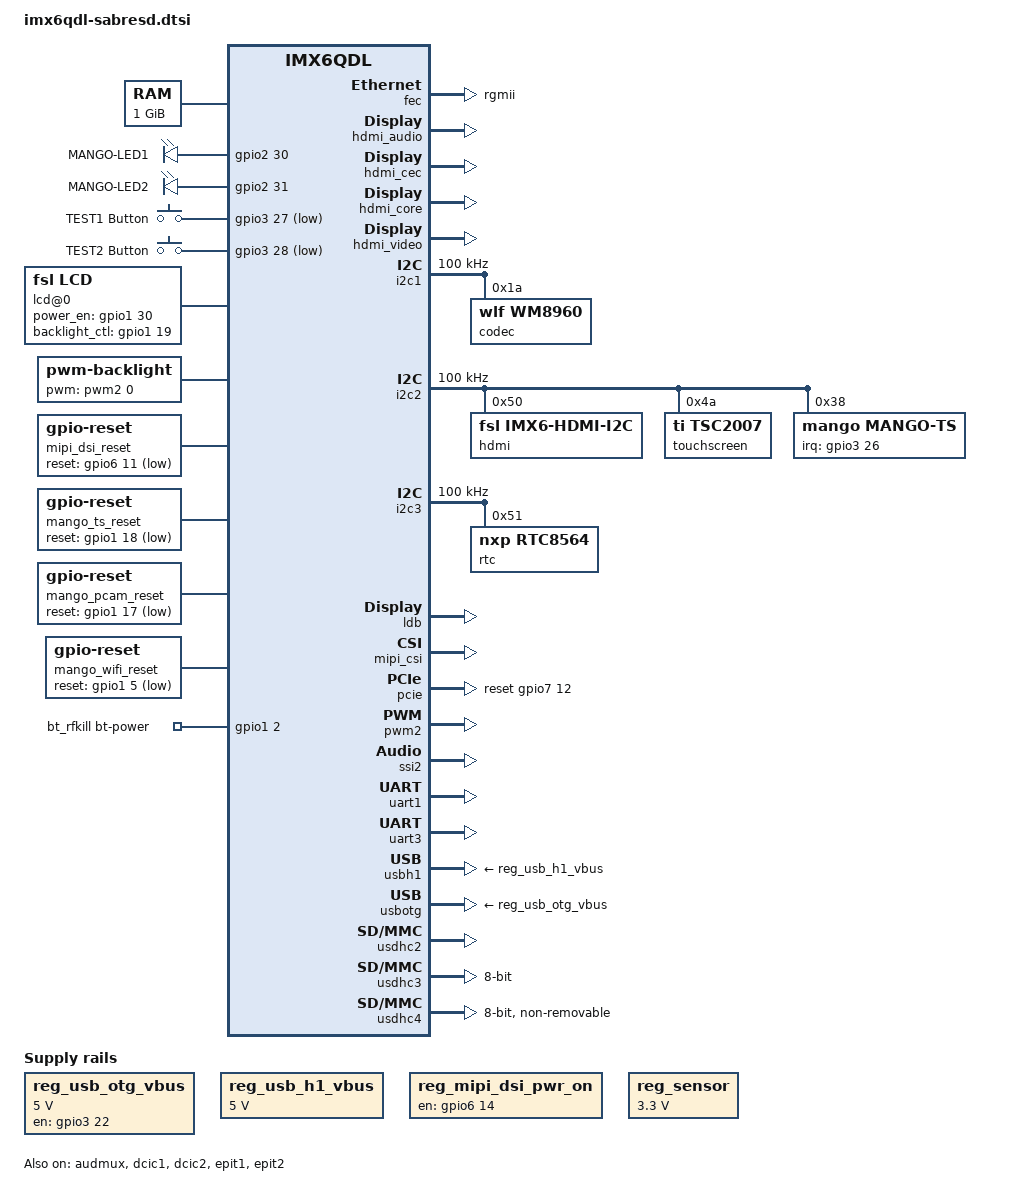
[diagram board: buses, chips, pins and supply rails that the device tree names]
/*
 * Copyright 2012 Freescale Semiconductor, Inc.
 * Copyright 2011 Linaro Ltd.
 *
 * The code contained herein is licensed under the GNU General Public
 * License. You may obtain a copy of the GNU General Public License
 * Version 2 or later at the following locations:
 *
 * http://www.opensource.org/licenses/gpl-license.html
 * http://www.gnu.org/copyleft/gpl.html
 */

/ {
	aliases {
		mxcfb0 = &mxcfb1;
		mxcfb1 = &mxcfb2;
		mxcfb2 = &mxcfb3;
		mxcfb3 = &mxcfb4;
	};

	memory {
		reg = <0x10000000 0x40000000>;
	};

	battery: max8903@0 {
		compatible = "fsl,max8903-charger";
		pinctrl-names = "default";
		dok_input = <&gpio2 24 1>;
		uok_input = <&gpio1 27 1>;
		chg_input = <&gpio3 23 1>;
		flt_input = <&gpio5 2 1>;
		fsl,dcm_always_high;
		fsl,dc_valid;
		fsl,usb_valid;
		status = "disabled";
	};

	hannstar_cabc {
		compatible = "hannstar,cabc";

		lvds0 {
			gpios = <&gpio6 15 GPIO_ACTIVE_HIGH>;
		};

		lvds1 {
			gpios = <&gpio6 16 GPIO_ACTIVE_HIGH>;
		};
	};

	leds {
		compatible = "gpio-leds";
		pinctrl-names = "default";
		pinctrl-0 = <&pinctrl_gpio_leds>;
		
		mango-led1 {
		    label = "MANGO-LED1";
		    gpios = <&gpio2 30 0>;
		    linux,default-trigger = "timer";
		    status = "okay";
		};
		mango-led2 {
		    label = "MANGO-LED2";
		    gpios =  <&gpio2 31 0>;
		    linux,default-trigger = "timer";
		    status = "okay";
		};
	};

	regulators {
		compatible = "simple-bus";

		reg_usb_otg_vbus: usb_otg_vbus {
			compatible = "regulator-fixed";
			regulator-name = "usb_otg_vbus";
			regulator-min-microvolt = <5000000>;
			regulator-max-microvolt = <5000000>;
			gpio = <&gpio3 22 0>;
			enable-active-high;
		};

		reg_usb_h1_vbus: usb_h1_vbus {
			compatible = "regulator-fixed";
			regulator-name = "usb_h1_vbus";
			regulator-min-microvolt = <5000000>;
			regulator-max-microvolt = <5000000>;
			/*gpio = <&gpio1 29 0>;*/
			enable-active-high;
		};


		reg_mipi_dsi_pwr_on: mipi_dsi_pwr_on {
			compatible = "regulator-fixed";
			regulator-name = "mipi_dsi_pwr_on";
			gpio = <&gpio6 14 0>;
			enable-active-high;
		};

		reg_sensor: sensor_supply {
			compatible = "regulator-fixed";
			regulator-name = "sensor-supply";
			regulator-min-microvolt = <3300000>;
			regulator-max-microvolt = <3300000>;
			startup-delay-us = <500>;
			enable-active-high;
		};
	};

	gpio-keys {
		compatible = "gpio-keys";
		pinctrl-names = "default";
		pinctrl-0 = <&pinctrl_gpio_keys>;

		test1 {
		    label = "TEST1 Button";
		    gpios = <&gpio3 27 1>;
		    gpio-key,wakeup;
		    linux,code = <116>;
		};
		
		test2 {
		    label = "TEST2 Button";
		    gpios = <&gpio3 28 1>;
		    gpio-key,wakeup;
		    linux,code = <116>;
		};
	
	};

    sound {
        compatible = "fsl,imx6q-sabresd-wm8960",
               "fsl,imx-audio-wm8960";
        model = "wm8960-audio";
        cpu-dai = <&ssi2>;
        audio-codec = <&codec>;
        asrc-controller = <&asrc>;
        hp-det = <3 0>;
        codec-master;
        audio-routing =
            "Headset Jack", "HP_L",
            "Headset Jack", "HP_R",
            "Ext Spk", "SPK_LP",
            "Ext Spk", "SPK_LN",
            "Ext Spk", "SPK_RP",
            "Ext Spk", "SPK_RN",
            "LINPUT2", "Hp MIC",
            "LINPUT3", "Hp MIC",
            "RINPUT1", "Main MIC",
            "RINPUT2", "Main MIC",
            "Hp MIC", "MICB",
            "Main MIC", "MICB",
            "CPU-Playback", "ASRC-Playback",
            "Playback", "CPU-Playback",
            "ASRC-Capture", "CPU-Capture",
            "CPU-Capture", "Capture";
                mux-int-port = <2>;
                mux-ext-port = <3>;
                //hp-det-gpios = <&gpio7 8 1>;
                //mic-det-gpios = <&gpio1 9 1>;
    };

	sound-hdmi {
		compatible = "fsl,imx6q-audio-hdmi",
			     "fsl,imx-audio-hdmi";
		model = "imx-audio-hdmi";
		hdmi-controller = <&hdmi_audio>;
	};

	mxcfb1: fb@0 {
#if 0
		compatible = "fsl,mxc_sdc_fb";
		disp_dev = "ldb";
		interface_pix_fmt = "RGB666";
		default_bpp = <16>;
		int_clk = <0>;
		late_init = <0>;
		status = "disabled";
#else 
		compatible = "fsl,mxc_sdc_fb";
        disp_dev = "lcd";
      	interface_pix_fmt = "BGR24";
      	mode_str ="CLAA-WVGA"; 
      	default_bpp = <32>;
      	int_clk = <0>;
      	late_init = <0>;
      	status = "disabled";
#endif
	};

	mxcfb2: fb@1 {
		compatible = "fsl,mxc_sdc_fb";
		disp_dev = "hdmi";
		interface_pix_fmt = "RGB24";
		mode_str ="1920x1080M@60";
		default_bpp = <24>;
		int_clk = <0>;
		late_init = <0>;
		status = "disabled";
	};

	mxcfb3: fb@2 {
		compatible = "fsl,mxc_sdc_fb";
		disp_dev = "lcd";
		interface_pix_fmt = "RGB565";
		mode_str ="CLAA-WVGA";
		default_bpp = <16>;
		int_clk = <0>;
		late_init = <0>;
		status = "disabled";
	};

	mxcfb4: fb@3 {
		compatible = "fsl,mxc_sdc_fb";
		disp_dev = "ldb";
		interface_pix_fmt = "RGB666";
		default_bpp = <16>;
		int_clk = <0>;
		late_init = <0>;
		status = "disabled";
	};

	lcd@0 {
		compatible = "fsl,lcd";
		ipu_id = <0>;
		disp_id = <0>;
		default_ifmt = "BGR24";
		pinctrl-names = "default";
		pinctrl-0 = <&pinctrl_ipu1_1>;
		power_en_gpio = <&gpio1 30 0>; /* Power EN */
		backlight_ctl_gpio = <&gpio1 19 0>; /* Backlight  CTRL */
		status = "okay";
	};

	pwm-backlight {
		compatible = "pwm-backlight";
		pwms = <&pwm2 0 50000>;
		brightness-levels = <
			0  /*1  2  3  4  5  6*/  7  8  9
			10 11 12 13 14 15 16 17 18 19
			20 21 22 23 24 25 26 27 28 29
			30 31 32 33 34 35 36 37 38 39
			40 41 42 43 44 45 46 47 48 49
			50 51 52 53 54 55 56 57 58 59
			60 61 62 63 64 65 66 67 68 69
			70 71 72 73 74 75 76 77 78 79
			80 81 82 83 84 85 86 87 88 89
			90 91 92 93 94 95 96 97 98 99
			100
			>;
		default-brightness-level = <94>;
	};

	v4l2_cap_0 {
		compatible = "fsl,imx6q-v4l2-capture";
		ipu_id = <0>;
		csi_id = <0>;
		mclk_source = <0>;
		status = "okay";
	};

	v4l2_cap_1 {
		compatible = "fsl,imx6q-v4l2-capture";
		ipu_id = <0>;
		csi_id = <0>;
		mclk_source = <0>;
		status = "disabled";
	};

	v4l2_out {
		compatible = "fsl,mxc_v4l2_output";
		status = "okay";
	};

	mipi_dsi_reset: mipi-dsi-reset {
		compatible = "gpio-reset";
		reset-gpios = <&gpio6 11 GPIO_ACTIVE_LOW>;
		reset-delay-us = <50>;
		#reset-cells = <0>;
	};

	mango_ts_reset: mango-ts-reset {
		compatible = "gpio-reset";
		reset-gpios = <&gpio1 18 GPIO_ACTIVE_LOW>;
		reset-delay-us = <10000>;
		initially-in-reset;
		#reset-cells = <0>;
	};

	mango_pcam_reset: mango-pcam-reset {
    compatible = "gpio-reset";
    reset-gpios = <&gpio1 17 GPIO_ACTIVE_LOW>;
    reset-delay-us = <10000>;
    initially-in-reset;
    #reset-cells = <0>;
	};

	mango_wifi_reset: mango-wifi-reset {
		compatible = "gpio-reset";
		reset-gpios = <&gpio1 5 GPIO_ACTIVE_LOW>;
		reset-delay-us = <100000>;
		initially-in-reset;
		#reset-cells = <0>;
	};
#if 0
	minipcie_ctrl {
		power-on-gpio = <&gpio3 19 0>;
	};
#endif
	bt_rfkill {
		compatible = "fsl,mxc_bt_rfkill";
		bt-power-gpios = <&gpio1 2 0>;
		status = "okay";
	};

#if 0
	consumer_ir {
		compatible = "fsl,mxc-ir";
		pwms = <&pwm2 0 5000000>;
		epit = <0>;
		status = "okay";
	};
#endif

	gps_ctrl {
		gps-reset-b = <&gpio2 28 GPIO_ACTIVE_HIGH>;
		power-on-gpio = <&gpio3 0 GPIO_ACTIVE_HIGH>;
	};

	ramoops_device {
		compatible = "fsl,mxc_ramoops";
		record_size = <524288>; /*512K*/
		console_size = <262144>; /*256K*/
		ftrace_size = <262144>;  /*256K*/
		dump_oops = <1>;
		status = "okay";
	};
};

&audmux {
	pinctrl-names = "default";
	pinctrl-0 = <&pinctrl_audmux_2>;
	status = "okay";
};

#if 0//by crazyboy 20151117 by treego  
&cpu0 {
	arm-supply = <&sw1a_reg>;
	soc-supply = <&sw1c_reg>;
	pu-supply = <&pu_dummy>; /* use pu_dummy if VDDSOC share with VDDPU */
};
#else 

&cpu0 {
    arm-supply = <&reg_arm>;
    soc-supply = <&reg_soc>;
    pu-supply = <&reg_pu>; /* use pu_dummy if VDDSOC share with VDDPU */
};

#endif

&ecspi1 {
	fsl,spi-num-chipselects = <1>;
	cs-gpios = <&gpio4 9 0>;
	pinctrl-names = "default";
	pinctrl-0 = <&pinctrl_ecspi1_2>;
	status = "disabled";

	flash: m25p80@0 {
		#address-cells = <1>;
		#size-cells = <1>;
		compatible = "st,m25p32";
		spi-max-frequency = <20000000>;
		reg = <0>;
	};
};

&fec {
	pinctrl-names = "default";
	pinctrl-0 = <&pinctrl_enet_3>;
//	phy-reset-gpios = <&gpio1 25 0>;
	phy-mode = "rgmii";
	phy-id = <0>;
	fsl,magic-packet;
	status = "okay";
};

&gpc {
	fsl,cpu_pupscr_sw2iso = <0xf>;
	fsl,cpu_pupscr_sw = <0xf>;
	fsl,cpu_pdnscr_iso2sw = <0x1>;
	fsl,cpu_pdnscr_iso = <0x1>;
	fsl,ldo-bypass = <1>; /* use ldo-bypass, u-boot will check it and configure */
   /* fsl,wdog-reset = <1>; *//* watchdog select of reset source */
   pu-supply = <&reg_pu>; /* ldo-bypass:use pu_dummy if VDDSOC share with VDDPU */
};

&wdog1 {
	status = "disabled";
};

&wdog2 {
	status = "disabled";
};

#if 0//by crazyboy 20151117 by treego  
&gpu {
	pu-supply = <&pu_dummy>; /* ldo-bypass:use pu_dummy if VDDSOC share with VDDPU */
};
#else 
&gpu {
    pu-supply = <&reg_pu>; /* ldo-bypass:use pu_dummy if VDDSOC share with VDDPU */
};
#endif

&hdmi_audio {
	status = "okay";
};

&hdmi_cec {
	pinctrl-names = "default";
	pinctrl-0 = <&pinctrl_hdmi_cec_2>;
	status = "okay";
};

&hdmi_core {
	ipu_id = <0>;
	disp_id = <0>;
	status = "okay";
};

&hdmi_video {
	fsl,phy_reg_vlev = <0x0294>;
	fsl,phy_reg_cksymtx = <0x800d>;
	status = "okay";
};

&i2c1 {
	clock-frequency = <100000>;
	pinctrl-names = "default";
	pinctrl-0 = <&pinctrl_i2c1_2>;
	status = "okay";

#if 0
	codec: wm8962@1a {
		compatible = "wlf,wm8962";
		reg = <0x1a>;
		clocks = <&clks 201>;
		DCVDD-supply = <&reg_audio>;
		DBVDD-supply = <&reg_audio>;
		AVDD-supply = <&reg_audio>;
		CPVDD-supply = <&reg_audio>;
		MICVDD-supply = <&reg_audio>;
		PLLVDD-supply = <&reg_audio>;
		SPKVDD1-supply = <&reg_audio>;
		SPKVDD2-supply = <&reg_audio>;
		amic-mono;
		gpio-cfg = <
			0x0000 /* 0:Default */
			0x0000 /* 1:Default */
			0x0013 /* 2:FN_DMICCLK */
			0x0000 /* 3:Default */
			0x8014 /* 4:FN_DMICCDAT */
			0x0000 /* 5:Default */
		>;
       };
#else 
	 codec: wm8960@1a {
     	compatible = "wlf,wm8960";
	    reg = <0x1a>;
	    clocks = <&clks 201>;
	    clock-names = "mclk";
	    wlf,shared-lrclk;
    };
#endif

#if 0
	mt9p111: mt9p111@3d {
		compatible = "aptina,mt9p111";
		reg = <0x3d>;
		pinctrl-names = "default";
		pinctrl-0 = <&pinctrl_ipu1_2 &pinctrl_mango_pcam>;
		clocks = <&clks 201>;
		clock-names = "csi_mclk";
		csi_id = <0>;
		mclk = <24000000>;
		mclk_source = <0>;
		pwdn-gpios = <&gpio1 16 GPIO_ACTIVE_HIGH>;   /* active high: SD1_DAT0 */
		resets = <&mango_pcam_reset>; /* active low: SD1_DAT1 */
	 	};
#endif
};


&i2c2 {
#if 1 //i2c function
	clock-frequency = <100000>;
	pinctrl-names = "default";
	pinctrl-0 = <&pinctrl_i2c2_2>;
	status = "okay";
#else
        compatible = "i2c-gpio";
	gpios = <&gpio4 13 0 /* sda */
		 &gpio4 12 0 /* scl */
		>; /* sda &gpio4 13 , scl gpio4 12 */
	i2c-gpio,sda-open-drain;
	i2c-gpio,scl-open-drain;
//	i2c-gpio,scl-output-only;
	i2c-gpio,delay-us = <1>;	/* ~100 kHz */
	#address-cells = <1>;
	#size-cells = <0>;
	status = "okay";
#endif
	hdmi: edid@50 {
		compatible = "fsl,imx6-hdmi-i2c";
		reg = <0x50>;
	};

#if 0
	s5k4ecgx_mipi: s5k4ecgx_mipi@2d {
		compatible = "samsung,s5k4ecgx_mipi";
//		pinctrl-names = "default";
		reg = <0x2d>;
		clocks = <&clks 201>;
		clock-names = "csi_mclk";
		csi_id = <0>;
		mclk = <24000000>;
		mclk_source = <0>;
	};
#endif
				   

#if 1//def CONFIG_MANGO_TOUCH_FT6x36_5INCH
   touchscreen: tsc2007@4a {
       compatible = "ti,tsc2007";
       reg = <0x4a>;
	//   pinctrl-names = "default";
//	   pinctrl-0 = <&pinctrl_mango_ts>;
//       interrupt-parent = <&gpio3>;
//       interrupts = <26 0>;
//       gpios = <&gpio3 26 GPIO_ACTIVE_LOW>;
       ti,x-plate-ohms = <660>;
       linux,wakeup;
   };

	mango-ts@38 {
		compatible = "mango,mango-ts";
	    reg = <0x38>;
//	    pinctrl-names = "default";
	    pinctrl-0 = <&pinctrl_mango_ts>;
	    interrupt-parent = <&gpio3>;
	    interrupts = <26 0>;
	 	resets = <&mango_ts_reset>;
 	};
#else 
   touchscreen: tsc2007@4a {
       compatible = "ti,tsc2007";
       reg = <0x4a>;
	   pinctrl-names = "default";
	   pinctrl-0 = <&pinctrl_mango_ts>;
       interrupt-parent = <&gpio3>;
       interrupts = <26 0>;
       gpios = <&gpio3 26 GPIO_ACTIVE_LOW>;
       ti,x-plate-ohms = <660>;
       linux,wakeup;
   };
#endif

};

&i2c3 {
        clock-frequency = <100000>;
        pinctrl-names = "default";
        pinctrl-0 = <&pinctrl_i2c3_2>;
        status = "okay";



	rtc@51 {
	    compatible = "nxp,rtc8564";
	    reg = <0x51>;
	};

};

&iomuxc {
	pinctrl-names = "default";
	pinctrl-0 = <&pinctrl_hog_1>;

	hog {
		pinctrl_hog_1: hoggrp-1 {
			fsl,pins = <
				MX6QDL_PAD_GPIO_4__GPIO1_IO04   0x80000000
				MX6QDL_PAD_GPIO_5__GPIO1_IO05   0x80000000
				MX6QDL_PAD_NANDF_D0__GPIO2_IO00 0x80000000
				MX6QDL_PAD_NANDF_D1__GPIO2_IO01 0x80000000
				MX6QDL_PAD_NANDF_D2__GPIO2_IO02 0x80000000
				MX6QDL_PAD_NANDF_D3__GPIO2_IO03 0x80000000
				MX6QDL_PAD_NANDF_ALE__GPIO6_IO08 0x80000000
				MX6QDL_PAD_NANDF_CLE__GPIO6_IO07 0x80000000
				MX6QDL_PAD_GPIO_0__CCM_CLKO1    0x130b0
				MX6QDL_PAD_NANDF_CS2__GPIO6_IO15 0x80000000
				MX6QDL_PAD_NANDF_CS3__GPIO6_IO16 0x80000000
			/*	MX6QDL_PAD_EIM_D26__GPIO3_IO26 0x80000000 */
				MX6QDL_PAD_EIM_CS1__GPIO2_IO24 0x80000000
				MX6QDL_PAD_ENET_RXD0__GPIO1_IO27 0x80000000
				MX6QDL_PAD_EIM_A25__GPIO5_IO02 0x80000000
				MX6QDL_PAD_EIM_D23__GPIO3_IO23 0x80000000
			/*	MX6QDL_PAD_ENET_TXD1__GPIO1_IO29 0x80000000 */
				MX6QDL_PAD_EIM_D22__GPIO3_IO22  0x80000000
				MX6QDL_PAD_NANDF_CS0__GPIO6_IO11 0x80000000
				MX6QDL_PAD_NANDF_CS1__GPIO6_IO14 0x80000000
				MX6QDL_PAD_EIM_DA0__GPIO3_IO00 0xc0000000
			/*	MX6QDL_PAD_EIM_EB3__GPIO2_IO31 0x80000000 */
				MX6QDL_PAD_EIM_D16__GPIO3_IO16 0x80000000
				MX6QDL_PAD_EIM_EB0__GPIO2_IO28 0x80000000
				MX6QDL_PAD_EIM_DA9__GPIO3_IO09 0x80000000
				MX6QDL_PAD_GPIO_4__GPIO1_IO04 0x80000000
				MX6QDL_PAD_GPIO_5__GPIO1_IO05 0x80000000
				MX6QDL_PAD_EIM_D29__GPIO3_IO29 0x80000000
				MX6QDL_PAD_SD3_RST__GPIO7_IO08 0x80000000
				MX6QDL_PAD_GPIO_9__GPIO1_IO09 0x80000000
				MX6QDL_PAD_GPIO_1__WDOG2_B 0x80000000
				MX6QDL_PAD_GPIO_2__GPIO1_IO02 0x1b0b0
			/*	MX6QDL_PAD_SD1_CMD__GPIO1_IO18 0x80000000 */
			>;
		};

	pinctrl_mango_ts: mango_ts {
			fsl,pins = <
				/* Reset*/
				MX6QDL_PAD_SD1_CMD__GPIO1_IO18  0x17059

				/* Interrupt */
				MX6QDL_PAD_EIM_D26__GPIO3_IO26  0x17059

			>;
 		};

	pinctrl_mango_pcam: mango_pcam {
        fsl,pins = <
            /* Parallel Camera Reset */
            MX6QDL_PAD_SD1_DAT1__GPIO1_IO17  0x17059

            /* Parallel Camera  PowerDown */
            MX6QDL_PAD_SD1_DAT0__GPIO1_IO16  0x10059
        >;
   		 };

		/* Crazyboys 151019 */
	pinctrl_gpio_keys: gpio_keysgrp {
   		fsl,pins = <
       		/* KEY1 By crazyboys */
		    MX6QDL_PAD_EIM_D27__GPIO3_IO27  0x17059

        	/* KEY2 By crazyboys */
	        MX6QDL_PAD_EIM_D28__GPIO3_IO28  0x17059
		    >;
		};

	pinctrl_gpio_leds: gpio_leds {
	    fsl,pins = <
	        /* LED1 By crazyboys */
	        MX6QDL_PAD_EIM_EB2__GPIO2_IO30 0x10059
	        /* LED2 By crazyboys */
	        MX6QDL_PAD_EIM_EB3__GPIO2_IO31 0x10059
	    >;
	};
					   

	};
};

&ldb {
	status = "okay";

	lvds-channel@0 {
		fsl,data-mapping = "spwg";
		fsl,data-width = <18>;
		status = "okay";

		display-timings {
			native-mode = <&timing0>;
			timing0: hsd100pxn1 {
				clock-frequency = <65000000>;
				hactive = <1024>;
				vactive = <768>;
				hback-porch = <220>;
				hfront-porch = <40>;
				vback-porch = <21>;
				vfront-porch = <7>;
				hsync-len = <60>;
				vsync-len = <10>;
			};
		};
	};

	lvds-channel@1 {
		fsl,data-mapping = "spwg";
		fsl,data-width = <18>;
		primary;
		status = "okay";

		display-timings {
			native-mode = <&timing1>;
			timing1: hsd100pxn1 {
				clock-frequency = <65000000>;
				hactive = <1024>;
				vactive = <768>;
				hback-porch = <220>;
				hfront-porch = <40>;
				vback-porch = <21>;
				vfront-porch = <7>;
				hsync-len = <60>;
				vsync-len = <10>;
			};
		};
	};
};

&mipi_csi {
	status = "okay";
	ipu_id = <0>;
	csi_id = <0>;
	v_channel = <0>;
	lanes = <2>;
};

&mipi_dsi {
	dev_id = <0>;
	disp_id = <1>;
	lcd_panel = "TRULY-WVGA";
	disp-power-on-supply = <&reg_mipi_dsi_pwr_on>;
	resets = <&mipi_dsi_reset>;
	status = "disabled";
};

&dcic1 {
	dcic_id = <0>;
	dcic_mux = "dcic-hdmi";
	status = "okay";
};

&dcic2 {
	dcic_id = <1>;
	dcic_mux = "dcic-lvds1";
	status = "okay";
};

&pcie {
	power-on-gpio = <&gpio3 29 0>;
	reset-gpio = <&gpio7 12 0>;
	status = "okay";
};


&pwm1 {
	pinctrl-names = "default";
	pinctrl-0 = <&pinctrl_pwm1_1>;
	status = "disabled";
};

&pwm2 {
	pinctrl-names = "default";
	pinctrl-0 = <&pinctrl_pwm2_1>;
	status = "okay";
};

&ssi2 {
	fsl,mode = "i2s-slave";
	status = "okay";
};

&uart1 {
	pinctrl-names = "default";
	pinctrl-0 = <&pinctrl_uart1_1>;
	status = "okay";
};

&uart3 {
	pinctrl-names = "default";
	pinctrl-0 = <&pinctrl_uart3_1>;
	status = "okay";
};

&usbh1 {
	vbus-supply = <&reg_usb_h1_vbus>;
	status = "okay";
};

&usbotg {
	vbus-supply = <&reg_usb_otg_vbus>;
	pinctrl-names = "default";
	pinctrl-0 = <&pinctrl_usbotg_2>;
	disable-over-current;
	status = "okay";
};

&usdhc2 {
	pinctrl-names = "default";
	pinctrl-0 = <&pinctrl_usdhc2_2>;
#if 0
	cd-gpios = <&gpio2 2 0>;
	wp-gpios = <&gpio2 3 0>;
#endif
	resets = <&mango_wifi_reset>;
	enable-gpio = <&gpio1 4 0>;
	no-1-8-v;
	keep-power-in-suspend;
	enable-sdio-wakeup;
	status = "okay";
};

&usdhc3 {
	pinctrl-names = "default";
	pinctrl-0 = <&pinctrl_usdhc3_1>;
	bus-width = <8>;
	no-1-8-v;
	keep-power-in-suspend;
	enable-sdio-wakeup;
	status = "okay";
};

&usdhc4 {
        pinctrl-names = "default";
        pinctrl-0 = <&pinctrl_usdhc4_1>;
        bus-width = <8>;
        non-removable;
        no-1-8-v;
	keep-power-in-suspend;
        status = "okay";
};

#if 0
&vpu {
	pu-supply = <&pu_dummy>; /* ldo-bypass:use pu_dummy if VDDSOC share with VDDPU */
};
#else 
&vpu {
    pu-supply = <&reg_pu>; /* ldo-bypass:use pu_dummy if VDDSOC share with VDDPU */
};
 
#endif

&epit1 {
	epit-id = < 0 >;
	status = "okay";
};

&epit2 {
	epit-id = < 1 >;
	status = "okay";
};

&caam_sm  {
	status = "disabled";
};

&irq_sec_vio  {
	status = "disabled";
};

&caam_snvs  {
	status = "disabled";
};

&crypto {
	status = "disabled";
};
